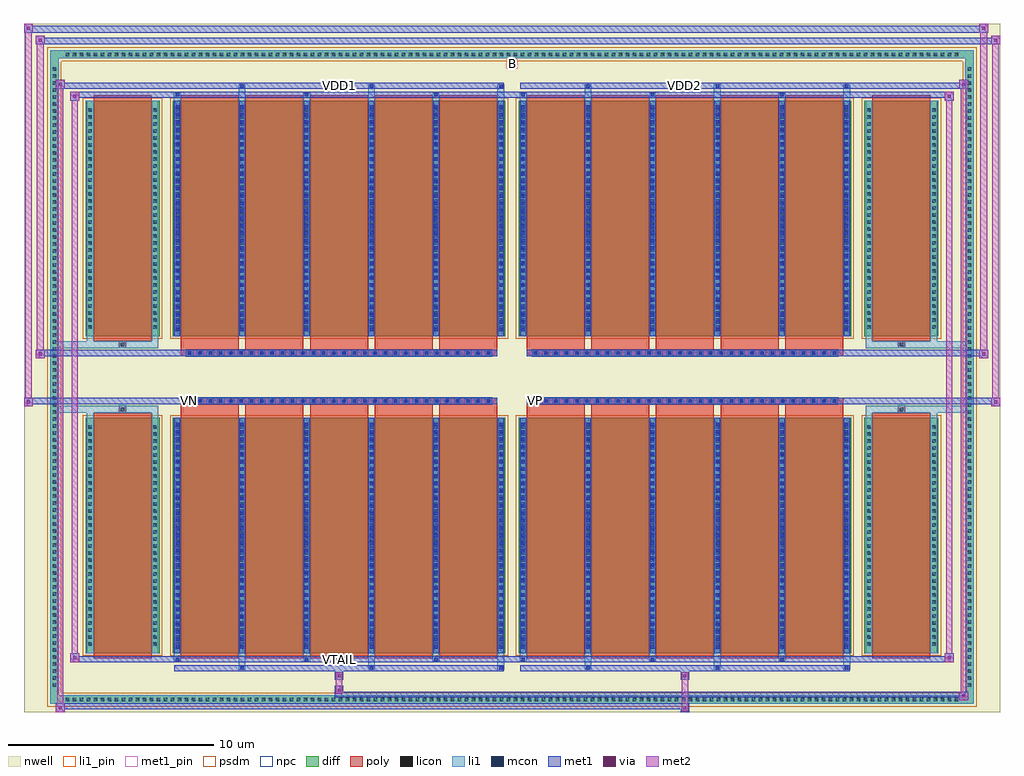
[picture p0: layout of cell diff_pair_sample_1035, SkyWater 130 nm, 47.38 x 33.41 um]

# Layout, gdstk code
import gdstk
lib = gdstk.Library(unit=1e-6, precision=5e-09)
def R(c, l, rs):  # rectangles x0, y0, x1, y1
    for r in rs: c.add(gdstk.rectangle(r[:2], r[2:], *l))
def A(c, l, x, y, w, h, nx, ny, dx, dy):  # array of equal rectangles
    R(c, l, [(x+i*dx, y+j*dy, x+i*dx+w, y+j*dy+h) for i in range(nx) for j in range(ny)])
def P(c, l, *ps):  # polygons
    for p in ps: c.add(gdstk.Polygon(p, *l))
nwell = (64, 20)
diff = (65, 20)
poly = (66, 20)
licon = (66, 44)
li1_pin = (67, 16)
li1 = (67, 20)
mcon = (67, 44)
met1_pin = (68, 16)
met1 = (68, 20)
via = (68, 44)
met2 = (69, 20)
psdm = (94, 20)
npc = (95, 20)

diff_pair_sample_1035 = lib.new_cell('diff_pair_sample_1035')
R(diff_pair_sample_1035, nwell, [(-23.69,-16.27,23.69,17.14), (-21.01,-14.46,-0.01,-0.8), (0.01,-14.46,21.01,-0.8), (-21.01,0.8,-0.01,14.46), (0.01,0.8,21.01,14.46)])
A(diff_pair_sample_1035, diff, -21.795, -15.87, 0.41, 0.41, 128, 2, 0.34, 31.33)
A(diff_pair_sample_1035, diff, -22.42, -15.165, 0.41, 0.41, 1, 89, 0, 0.34)
A(diff_pair_sample_1035, diff, 22.01, -15.165, 0.41, 0.41, 1, 89, 0, 0.34)
R(diff_pair_sample_1035, diff, [(-21.795,-15.87,21.795,-15.46), (-22.42,-15.165,-22.01,15.165), (22.01,-15.165,22.42,15.165), (-20.7,-13.415,-17.11,-1.985), (-16.47,-13.415,-0.32,-1.985), (0.32,-13.415,16.47,-1.985), (17.11,-13.415,20.7,-1.985), (-20.7,1.985,-17.11,13.415), (-16.47,1.985,-0.32,13.415), (0.32,1.985,16.47,13.415), (17.11,1.985,20.7,13.415), (-21.795,15.46,21.795,15.87)])
P(diff_pair_sample_1035, diff, [(22.42,15.87),(-22.42,15.87),(-22.42,-15.46),(-22.01,-15.46),(-22.01,15.46),(22.01,15.46),(22.01,-15.46),(-22.01,-15.46),(-22.42,-15.46),(-22.42,-15.87),(22.42,-15.87)])
A(diff_pair_sample_1035, poly, -16.08, -13.665, 2.81, 11.93, 5, 2, 3.14, 15.4)
A(diff_pair_sample_1035, poly, 0.71, -13.665, 2.81, 11.93, 5, 2, 3.14, 15.4)
A(diff_pair_sample_1035, poly, -16.08, -1.735, 2.81, 0.405, 5, 2, 3.14, 3.065)
A(diff_pair_sample_1035, poly, 0.71, -1.735, 2.81, 0.405, 5, 2, 3.14, 3.065)
A(diff_pair_sample_1035, poly, -15.81, -1.33, 0.33, 0.33, 30, 2, 0.5, 2.33)
A(diff_pair_sample_1035, poly, 0.98, -1.33, 0.33, 0.33, 30, 2, 0.5, 2.33)
R(diff_pair_sample_1035, poly, [(-20.31,-13.665,-17.5,-1.735), (17.5,-13.665,20.31,-1.735), (-19.07,-1.735,-18.74,-1.405), (-19.07,-1.735,-18.74,-1.405), (18.74,-1.735,19.07,-1.405), (18.74,-1.735,19.07,-1.405), (-16.08,-1.33,-0.71,-1), (0.71,-1.33,16.08,-1), (-16.08,1,-0.71,1.33), (0.71,1,16.08,1.33), (-19.07,1.405,-18.74,1.735), (-19.07,1.405,-18.74,1.735), (18.74,1.405,19.07,1.735), (18.74,1.405,19.07,1.735), (-20.31,1.735,-17.5,13.665), (17.5,1.735,20.31,13.665)])
A(diff_pair_sample_1035, licon, -21.675, -15.75, 0.17, 0.17, 128, 2, 0.34, 31.33)
A(diff_pair_sample_1035, licon, -22.3, -15.045, 0.17, 0.17, 1, 89, 0, 0.34)
A(diff_pair_sample_1035, licon, 22.13, -15.045, 0.17, 0.17, 1, 89, 0, 0.34)
A(diff_pair_sample_1035, licon, -20.56, -13.055, 0.17, 0.17, 1, 32, 0, 0.34)
A(diff_pair_sample_1035, licon, -17.42, -13.055, 0.17, 0.17, 1, 32, 0, 0.34)
A(diff_pair_sample_1035, licon, -16.33, -13.055, 0.17, 0.17, 6, 32, 3.14, 0.34)
A(diff_pair_sample_1035, licon, 0.46, -13.055, 0.17, 0.17, 6, 32, 3.14, 0.34)
A(diff_pair_sample_1035, licon, 17.25, -13.055, 0.17, 0.17, 1, 32, 0, 0.34)
A(diff_pair_sample_1035, licon, 20.39, -13.055, 0.17, 0.17, 1, 32, 0, 0.34)
A(diff_pair_sample_1035, licon, -15.73, -1.25, 0.17, 0.17, 30, 2, 0.5, 2.33)
A(diff_pair_sample_1035, licon, 1.06, -1.25, 0.17, 0.17, 30, 2, 0.5, 2.33)
A(diff_pair_sample_1035, licon, -20.56, 2.345, 0.17, 0.17, 1, 32, 0, 0.34)
A(diff_pair_sample_1035, licon, -17.42, 2.345, 0.17, 0.17, 1, 32, 0, 0.34)
A(diff_pair_sample_1035, licon, -16.33, 2.345, 0.17, 0.17, 6, 32, 3.14, 0.34)
A(diff_pair_sample_1035, licon, 0.46, 2.345, 0.17, 0.17, 6, 32, 3.14, 0.34)
A(diff_pair_sample_1035, licon, 17.25, 2.345, 0.17, 0.17, 1, 32, 0, 0.34)
A(diff_pair_sample_1035, licon, 20.39, 2.345, 0.17, 0.17, 1, 32, 0, 0.34)
R(diff_pair_sample_1035, licon, [(-18.99,-1.655,-18.82,-1.485), (18.82,-1.655,18.99,-1.485), (-18.99,1.485,-18.82,1.655), (18.82,1.485,18.99,1.655)])
R(diff_pair_sample_1035, li1_pin, [(-0.25,14.96,0.25,15.46)])
A(diff_pair_sample_1035, li1, -21.755, -15.83, 0.33, 0.33, 128, 2, 0.34, 31.33)
A(diff_pair_sample_1035, li1, -22.38, -15.125, 0.33, 0.33, 1, 89, 0, 0.34)
A(diff_pair_sample_1035, li1, 22.05, -15.125, 0.33, 0.33, 1, 89, 0, 0.34)
A(diff_pair_sample_1035, li1, -13.27, -14.22, 0.33, 0.805, 3, 2, 6.28, 27.635)
A(diff_pair_sample_1035, li1, -13.19, -14.22, 0.17, 0.17, 3, 2, 6.28, 28.27)
A(diff_pair_sample_1035, li1, 3.52, -14.22, 0.33, 0.805, 3, 2, 6.28, 27.635)
A(diff_pair_sample_1035, li1, 3.6, -14.22, 0.17, 0.17, 3, 2, 6.28, 28.27)
A(diff_pair_sample_1035, li1, -16.41, -13.79, 0.33, 0.375, 3, 2, 6.28, 27.205)
A(diff_pair_sample_1035, li1, -16.33, -13.79, 0.17, 0.17, 3, 2, 6.28, 27.41)
A(diff_pair_sample_1035, li1, 0.38, -13.79, 0.33, 0.375, 3, 2, 6.28, 27.205)
A(diff_pair_sample_1035, li1, 0.46, -13.79, 0.17, 0.17, 3, 2, 6.28, 27.41)
A(diff_pair_sample_1035, li1, -16.41, -13.415, 0.33, 11.43, 6, 2, 3.14, 15.4)
A(diff_pair_sample_1035, li1, 0.38, -13.415, 0.33, 11.43, 6, 2, 3.14, 15.4)
A(diff_pair_sample_1035, li1, -16.33, -13.185, 0.17, 0.17, 6, 31, 3.14, 0.36)
A(diff_pair_sample_1035, li1, -16.33, -13.185, 0.17, 10.97, 6, 2, 3.14, 15.4)
A(diff_pair_sample_1035, li1, 0.46, -13.185, 0.17, 0.17, 6, 31, 3.14, 0.36)
A(diff_pair_sample_1035, li1, 0.46, -13.185, 0.17, 10.97, 6, 2, 3.14, 15.4)
A(diff_pair_sample_1035, li1, -20.64, -13.135, 0.33, 0.33, 1, 32, 0, 0.34)
A(diff_pair_sample_1035, li1, -17.5, -13.135, 0.33, 0.33, 1, 32, 0, 0.34)
A(diff_pair_sample_1035, li1, -16.41, -13.135, 0.33, 0.33, 6, 32, 3.14, 0.34)
A(diff_pair_sample_1035, li1, 0.38, -13.135, 0.33, 0.33, 6, 32, 3.14, 0.34)
A(diff_pair_sample_1035, li1, 17.17, -13.135, 0.33, 0.33, 1, 32, 0, 0.34)
A(diff_pair_sample_1035, li1, 20.31, -13.135, 0.33, 0.33, 1, 32, 0, 0.34)
A(diff_pair_sample_1035, li1, -15.81, -1.33, 0.33, 0.33, 30, 2, 0.5, 2.33)
A(diff_pair_sample_1035, li1, 0.98, -1.33, 0.33, 0.33, 30, 2, 0.5, 2.33)
A(diff_pair_sample_1035, li1, -16.33, 2.215, 0.17, 0.17, 6, 31, 3.14, 0.36)
A(diff_pair_sample_1035, li1, 0.46, 2.215, 0.17, 0.17, 6, 31, 3.14, 0.36)
A(diff_pair_sample_1035, li1, -20.64, 2.265, 0.33, 0.33, 1, 32, 0, 0.34)
A(diff_pair_sample_1035, li1, -17.5, 2.265, 0.33, 0.33, 1, 32, 0, 0.34)
A(diff_pair_sample_1035, li1, -16.41, 2.265, 0.33, 0.33, 6, 32, 3.14, 0.34)
A(diff_pair_sample_1035, li1, 0.38, 2.265, 0.33, 0.33, 6, 32, 3.14, 0.34)
A(diff_pair_sample_1035, li1, 17.17, 2.265, 0.33, 0.33, 1, 32, 0, 0.34)
A(diff_pair_sample_1035, li1, 20.31, 2.265, 0.33, 0.33, 1, 32, 0, 0.34)
R(diff_pair_sample_1035, li1, [(-22.42,-15.87,-22.01,-15.46), (-22.42,-15.87,-22.01,-15.46), (-22.01,-15.87,22.01,-15.46), (22.01,-15.87,22.42,-15.46), (22.01,-15.87,22.42,-15.46), (-22.42,-15.46,-22.01,15.46), (22.01,-15.46,22.42,15.46), (-20.64,-13.415,-20.31,-1.985), (-17.5,-13.415,-17.17,-1.985), (17.17,-13.415,17.5,-1.985), (20.31,-13.415,20.64,-1.985), (-20.64,-1.985,-20.31,-1.405), (-17.5,-1.985,-17.17,-1.405), (17.17,-1.985,17.5,-1.405), (20.31,-1.985,20.64,-1.405), (-22.42,-1.735,-19.07,-1.405), (-20.64,-1.735,-19.07,-1.405), (-19.07,-1.735,-18.74,-1.405), (-18.74,-1.735,-17.17,-1.405), (17.17,-1.735,18.74,-1.405), (18.74,-1.735,19.07,-1.405), (18.74,-1.735,22.42,-1.405), (19.07,-1.735,20.64,-1.405), (-22.42,1.405,-19.07,1.735), (-20.64,1.405,-19.07,1.735), (-20.64,1.405,-20.31,1.985), (-19.07,1.405,-18.74,1.735), (-18.74,1.405,-17.17,1.735), (-17.5,1.405,-17.17,1.985), (17.17,1.405,18.74,1.735), (17.17,1.405,17.5,1.985), (18.74,1.405,19.07,1.735), (18.74,1.405,22.42,1.735), (19.07,1.405,20.64,1.735), (20.31,1.405,20.64,1.985), (-20.64,1.985,-20.31,13.415), (-17.5,1.985,-17.17,13.415), (17.17,1.985,17.5,13.415), (20.31,1.985,20.64,13.415), (-22.42,15.46,-22.01,15.87), (-22.42,15.46,-22.01,15.87), (-22.01,15.46,22.01,15.87), (22.01,15.46,22.42,15.87), (22.01,15.46,22.42,15.87)])
A(diff_pair_sample_1035, mcon, -13.19, -14.22, 0.17, 0.17, 3, 2, 6.28, 28.27)
A(diff_pair_sample_1035, mcon, 3.6, -14.22, 0.17, 0.17, 3, 2, 6.28, 28.27)
A(diff_pair_sample_1035, mcon, -16.33, -13.79, 0.17, 0.17, 3, 2, 6.28, 27.41)
A(diff_pair_sample_1035, mcon, 0.46, -13.79, 0.17, 0.17, 3, 2, 6.28, 27.41)
A(diff_pair_sample_1035, mcon, -16.33, -13.185, 0.17, 0.17, 6, 31, 3.14, 0.36)
A(diff_pair_sample_1035, mcon, 0.46, -13.185, 0.17, 0.17, 6, 31, 3.14, 0.36)
A(diff_pair_sample_1035, mcon, -15.73, -1.25, 0.17, 0.17, 30, 2, 0.5, 2.33)
A(diff_pair_sample_1035, mcon, 1.06, -1.25, 0.17, 0.17, 30, 2, 0.5, 2.33)
A(diff_pair_sample_1035, mcon, -16.33, 2.215, 0.17, 0.17, 6, 31, 3.14, 0.36)
A(diff_pair_sample_1035, mcon, 0.46, 2.215, 0.17, 0.17, 6, 31, 3.14, 0.36)
R(diff_pair_sample_1035, met1_pin, [(-8.53,-13.83,-8.26,-13.56), (-15.78,-1.29,-15.51,-1.02), (1.01,-1.29,1.28,-1.02), (-8.53,14.01,-8.26,14.28), (8.26,14.01,8.53,14.28)])
A(diff_pair_sample_1035, met1, -13.25, -14.28, 0.29, 0.29, 3, 2, 6.28, 28.27)
A(diff_pair_sample_1035, met1, 3.54, -14.28, 0.29, 0.29, 3, 2, 6.28, 28.27)
A(diff_pair_sample_1035, met1, -16.39, -13.85, 0.29, 0.29, 3, 2, 6.28, 27.41)
A(diff_pair_sample_1035, met1, 0.4, -13.85, 0.29, 0.29, 3, 2, 6.28, 27.41)
A(diff_pair_sample_1035, met1, -16.39, -13.415, 0.29, 11.43, 6, 2, 3.14, 15.4)
A(diff_pair_sample_1035, met1, 0.4, -13.415, 0.29, 11.43, 6, 2, 3.14, 15.4)
A(diff_pair_sample_1035, met1, -16.39, -13.245, 0.29, 0.29, 6, 31, 3.14, 0.36)
A(diff_pair_sample_1035, met1, 0.4, -13.245, 0.29, 0.29, 6, 31, 3.14, 0.36)
A(diff_pair_sample_1035, met1, -15.79, -1.31, 0.29, 0.29, 30, 2, 0.5, 2.33)
A(diff_pair_sample_1035, met1, 1, -1.31, 0.29, 0.29, 30, 2, 0.5, 2.33)
A(diff_pair_sample_1035, met1, -16.39, 2.155, 0.29, 0.29, 6, 31, 3.14, 0.36)
A(diff_pair_sample_1035, met1, 0.4, 2.155, 0.29, 0.29, 6, 31, 3.14, 0.36)
R(diff_pair_sample_1035, met1, [(-22.15,-16.27,-21.72,-15.84), (8.18,-16.27,8.61,-15.84), (-22.15,-16.13,8.61,-15.84), (21.72,-15.7,22.15,-15.27), (-8.61,-15.56,22.15,-15.27), (-8.61,-15.42,-8.18,-14.99), (-8.61,-14.71,-8.18,-14.28), (8.18,-14.71,8.61,-14.28), (-16.39,-14.28,-0.4,-13.99), (0.4,-14.28,16.39,-13.99), (-21.44,-13.85,-21.01,-13.42), (-21.44,-13.85,-16.39,-13.56), (-16.39,-13.85,-0.4,-13.56), (-0.4,-13.85,0.4,-13.56), (0.4,-13.85,16.39,-13.56), (16.39,-13.85,21.44,-13.56), (21.01,-13.85,21.44,-13.42), (-23.69,-1.43,-23.26,-1), (23.26,-1.43,23.69,-1), (-23.69,-1.33,-0.71,-1), (-16.08,-1.33,-0.71,-1), (0.71,-1.33,16.08,-1), (0.71,-1.33,23.69,-1), (-23.12,0.9,-22.69,1.33), (22.69,0.9,23.12,1.33), (-23.12,1,-16.08,1.33), (-16.08,1,-0.71,1.33), (0.71,1,16.08,1.33), (16.08,1,23.12,1.33), (-21.44,13.42,-21.01,13.85), (21.01,13.42,21.44,13.85), (-21.44,13.56,-16.39,13.85), (-16.39,13.56,-0.4,13.85), (-0.4,13.56,0.4,13.85), (0.4,13.56,16.39,13.85), (16.39,13.56,21.44,13.85), (-22.15,13.99,-21.72,14.42), (-22.15,13.99,-16.39,14.28), (-16.39,13.99,-0.4,14.28), (0.4,13.99,16.39,14.28), (16.39,13.99,22.15,14.28), (21.72,13.99,22.15,14.42), (-23.12,16.14,-22.69,16.57), (-23.12,16.14,-21.01,16.47), (-21.01,16.14,21.01,16.47), (21.01,16.14,23.69,16.47), (23.26,16.14,23.69,16.57), (-23.69,16.71,-23.26,17.14), (-23.69,16.71,-21.01,17.04), (-21.01,16.71,21.01,17.04), (21.01,16.71,23.12,17.04), (22.69,16.71,23.12,17.14)])
R(diff_pair_sample_1035, via, [(-22.01,-16.13,-21.86,-15.98), (8.32,-16.13,8.47,-15.98), (21.86,-15.56,22.01,-15.41), (-8.47,-15.28,-8.32,-15.13), (-8.47,-14.57,-8.32,-14.42), (8.32,-14.57,8.47,-14.42), (-21.3,-13.71,-21.15,-13.56), (21.15,-13.71,21.3,-13.56), (-23.55,-1.29,-23.4,-1.14), (23.4,-1.29,23.55,-1.14), (-22.98,1.04,-22.83,1.19), (22.83,1.04,22.98,1.19), (-21.3,13.56,-21.15,13.71), (21.15,13.56,21.3,13.71), (-22.01,14.13,-21.86,14.28), (21.86,14.13,22.01,14.28), (-22.98,16.28,-22.83,16.43), (23.4,16.28,23.55,16.43), (-23.55,16.85,-23.4,17), (22.83,16.85,22.98,17)])
R(diff_pair_sample_1035, met2, [(-22.15,-16.27,-21.72,-15.84), (-22.08,-16.27,-21.79,14.42), (-21.79,-16.27,-21.72,-15.84), (-22.1,-16.22,-21.77,-15.89), (8.23,-16.22,8.56,-15.89), (8.23,-15.89,8.56,-14.66), (21.72,-15.7,22.15,-15.27), (21.79,-15.7,22.08,14.42), (22.08,-15.7,22.15,-15.27), (21.77,-15.65,22.1,-15.32), (-8.56,-15.37,-8.23,-15.04), (-8.56,-15.04,-8.23,-14.66), (-8.56,-14.66,-8.23,-14.33), (8.23,-14.66,8.56,-14.33), (-21.44,-13.85,-21.01,-13.42), (-21.37,-13.85,-21.08,13.85), (-21.08,-13.85,-21.01,-13.42), (21.01,-13.85,21.44,-13.42), (21.08,-13.85,21.37,13.85), (21.37,-13.85,21.44,-13.42), (-21.39,-13.8,-21.06,-13.47), (21.06,-13.8,21.39,-13.47), (-23.69,-1.43,-23.26,-1), (-23.64,-1.43,-23.31,17.14), (-23.31,-1.43,-23.26,-1), (23.26,-1.43,23.69,-1), (23.31,-1.43,23.64,16.57), (23.64,-1.43,23.69,-1), (-23.64,-1.38,-23.31,-1.05), (23.31,-1.38,23.64,-1.05), (-23.12,0.9,-22.69,1.33), (-23.07,0.9,-22.74,16.57), (-22.74,0.9,-22.69,1.33), (22.69,0.9,23.12,1.33), (22.74,0.9,23.07,17.14), (23.07,0.9,23.12,1.33), (-23.07,0.95,-22.74,1.28), (22.74,0.95,23.07,1.28), (-21.44,13.42,-21.01,13.85), (-21.08,13.42,-21.01,13.85), (21.01,13.42,21.44,13.85), (21.37,13.42,21.44,13.85), (-21.39,13.47,-21.06,13.8), (21.06,13.47,21.39,13.8), (-22.15,13.99,-21.72,14.42), (-21.79,13.99,-21.72,14.42), (21.72,13.99,22.15,14.42), (22.08,13.99,22.15,14.42), (-22.1,14.04,-21.77,14.37), (21.77,14.04,22.1,14.37), (-23.12,16.14,-22.69,16.57), (-22.74,16.14,-22.69,16.57), (23.26,16.14,23.69,16.57), (23.64,16.14,23.69,16.57), (-23.07,16.19,-22.74,16.52), (23.31,16.19,23.64,16.52), (-23.69,16.71,-23.26,17.14), (-23.31,16.71,-23.26,17.14), (22.69,16.71,23.12,17.14), (23.07,16.71,23.12,17.14), (-23.64,16.76,-23.31,17.09), (22.74,16.76,23.07,17.09)])
R(diff_pair_sample_1035, psdm, [(-20.83,-13.545,-16.98,-1.855), (-16.6,-13.545,-0.19,-1.855), (0.19,-13.545,16.6,-1.855), (16.98,-13.545,20.83,-1.855), (-20.83,1.855,-16.98,13.545), (-16.6,1.855,-0.19,13.545), (0.19,1.855,16.6,13.545), (16.98,1.855,20.83,13.545)])
P(diff_pair_sample_1035, psdm, [(22.55,16),(-22.55,16),(-22.55,-15.33),(-21.88,-15.33),(-21.88,15.33),(21.88,15.33),(21.88,-15.33),(-21.88,-15.33),(-22.55,-15.33),(-22.55,-16),(22.55,-16)])
A(diff_pair_sample_1035, npc, -15.83, -1.35, 0.37, 0.37, 30, 2, 0.5, 2.33)
A(diff_pair_sample_1035, npc, 0.96, -1.35, 0.37, 0.37, 30, 2, 0.5, 2.33)
R(diff_pair_sample_1035, npc, [(-19.09,-1.755,-18.72,-1.385), (18.72,-1.755,19.09,-1.385), (-15.83,-1.35,-14.96,-0.98), (-15.83,-1.35,-14.96,-0.98), (-15.33,-1.35,-14.46,-0.98), (-15.33,-1.35,-14.46,-0.98), (-14.83,-1.35,-13.96,-0.98), (-14.83,-1.35,-13.96,-0.98), (-14.33,-1.35,-13.46,-0.98), (-14.33,-1.35,-13.46,-0.98), (-13.83,-1.35,-12.96,-0.98), (-13.83,-1.35,-12.96,-0.98), (-13.33,-1.35,-12.46,-0.98), (-13.33,-1.35,-12.46,-0.98), (-12.83,-1.35,-11.96,-0.98), (-12.83,-1.35,-11.96,-0.98), (-12.33,-1.35,-11.46,-0.98), (-12.33,-1.35,-11.46,-0.98), (-11.83,-1.35,-10.96,-0.98), (-11.83,-1.35,-10.96,-0.98), (-11.33,-1.35,-10.46,-0.98), (-11.33,-1.35,-10.46,-0.98), (-10.83,-1.35,-9.96,-0.98), (-10.83,-1.35,-9.96,-0.98), (-10.33,-1.35,-9.46,-0.98), (-10.33,-1.35,-9.46,-0.98), (-9.83,-1.35,-8.96,-0.98), (-9.83,-1.35,-8.96,-0.98), (-9.33,-1.35,-8.46,-0.98), (-9.33,-1.35,-8.46,-0.98), (-8.83,-1.35,-7.96,-0.98), (-8.83,-1.35,-7.96,-0.98), (-8.33,-1.35,-7.46,-0.98), (-8.33,-1.35,-7.46,-0.98), (-7.83,-1.35,-6.96,-0.98), (-7.83,-1.35,-6.96,-0.98), (-7.33,-1.35,-6.46,-0.98), (-7.33,-1.35,-6.46,-0.98), (-6.83,-1.35,-5.96,-0.98), (-6.83,-1.35,-5.96,-0.98), (-6.33,-1.35,-5.46,-0.98), (-6.33,-1.35,-5.46,-0.98), (-5.83,-1.35,-4.96,-0.98), (-5.83,-1.35,-4.96,-0.98), (-5.33,-1.35,-4.46,-0.98), (-5.33,-1.35,-4.46,-0.98), (-4.83,-1.35,-3.96,-0.98), (-4.83,-1.35,-3.96,-0.98), (-4.33,-1.35,-3.46,-0.98), (-4.33,-1.35,-3.46,-0.98), (-3.83,-1.35,-2.96,-0.98), (-3.83,-1.35,-2.96,-0.98), (-3.33,-1.35,-2.46,-0.98), (-3.33,-1.35,-2.46,-0.98), (-2.83,-1.35,-1.96,-0.98), (-2.83,-1.35,-1.96,-0.98), (-2.33,-1.35,-1.46,-0.98), (-2.33,-1.35,-1.46,-0.98), (-1.83,-1.35,-0.96,-0.98), (-1.83,-1.35,-0.96,-0.98), (0.96,-1.35,1.83,-0.98), (0.96,-1.35,1.83,-0.98), (1.46,-1.35,2.33,-0.98), (1.46,-1.35,2.33,-0.98), (1.96,-1.35,2.83,-0.98), (1.96,-1.35,2.83,-0.98), (2.46,-1.35,3.33,-0.98), (2.46,-1.35,3.33,-0.98), (2.96,-1.35,3.83,-0.98), (2.96,-1.35,3.83,-0.98), (3.46,-1.35,4.33,-0.98), (3.46,-1.35,4.33,-0.98), (3.96,-1.35,4.83,-0.98), (3.96,-1.35,4.83,-0.98), (4.46,-1.35,5.33,-0.98), (4.46,-1.35,5.33,-0.98), (4.96,-1.35,5.83,-0.98), (4.96,-1.35,5.83,-0.98), (5.46,-1.35,6.33,-0.98), (5.46,-1.35,6.33,-0.98), (5.96,-1.35,6.83,-0.98), (5.96,-1.35,6.83,-0.98), (6.46,-1.35,7.33,-0.98), (6.46,-1.35,7.33,-0.98), (6.96,-1.35,7.83,-0.98), (6.96,-1.35,7.83,-0.98), (7.46,-1.35,8.33,-0.98), (7.46,-1.35,8.33,-0.98), (7.96,-1.35,8.83,-0.98), (7.96,-1.35,8.83,-0.98), (8.46,-1.35,9.33,-0.98), (8.46,-1.35,9.33,-0.98), (8.96,-1.35,9.83,-0.98), (8.96,-1.35,9.83,-0.98), (9.46,-1.35,10.33,-0.98), (9.46,-1.35,10.33,-0.98), (9.96,-1.35,10.83,-0.98), (9.96,-1.35,10.83,-0.98), (10.46,-1.35,11.33,-0.98), (10.46,-1.35,11.33,-0.98), (10.96,-1.35,11.83,-0.98), (10.96,-1.35,11.83,-0.98), (11.46,-1.35,12.33,-0.98), (11.46,-1.35,12.33,-0.98), (11.96,-1.35,12.83,-0.98), (11.96,-1.35,12.83,-0.98), (12.46,-1.35,13.33,-0.98), (12.46,-1.35,13.33,-0.98), (12.96,-1.35,13.83,-0.98), (12.96,-1.35,13.83,-0.98), (13.46,-1.35,14.33,-0.98), (13.46,-1.35,14.33,-0.98), (13.96,-1.35,14.83,-0.98), (13.96,-1.35,14.83,-0.98), (14.46,-1.35,15.33,-0.98), (14.46,-1.35,15.33,-0.98), (14.96,-1.35,15.83,-0.98), (14.96,-1.35,15.83,-0.98), (-15.83,0.98,-14.96,1.35), (-15.83,0.98,-14.96,1.35), (-15.33,0.98,-14.46,1.35), (-15.33,0.98,-14.46,1.35), (-14.83,0.98,-13.96,1.35), (-14.83,0.98,-13.96,1.35), (-14.33,0.98,-13.46,1.35), (-14.33,0.98,-13.46,1.35), (-13.83,0.98,-12.96,1.35), (-13.83,0.98,-12.96,1.35), (-13.33,0.98,-12.46,1.35), (-13.33,0.98,-12.46,1.35), (-12.83,0.98,-11.96,1.35), (-12.83,0.98,-11.96,1.35), (-12.33,0.98,-11.46,1.35), (-12.33,0.98,-11.46,1.35), (-11.83,0.98,-10.96,1.35), (-11.83,0.98,-10.96,1.35), (-11.33,0.98,-10.46,1.35), (-11.33,0.98,-10.46,1.35), (-10.83,0.98,-9.96,1.35), (-10.83,0.98,-9.96,1.35), (-10.33,0.98,-9.46,1.35), (-10.33,0.98,-9.46,1.35), (-9.83,0.98,-8.96,1.35), (-9.83,0.98,-8.96,1.35), (-9.33,0.98,-8.46,1.35), (-9.33,0.98,-8.46,1.35), (-8.83,0.98,-7.96,1.35), (-8.83,0.98,-7.96,1.35), (-8.33,0.98,-7.46,1.35), (-8.33,0.98,-7.46,1.35), (-7.83,0.98,-6.96,1.35), (-7.83,0.98,-6.96,1.35), (-7.33,0.98,-6.46,1.35), (-7.33,0.98,-6.46,1.35), (-6.83,0.98,-5.96,1.35), (-6.83,0.98,-5.96,1.35), (-6.33,0.98,-5.46,1.35), (-6.33,0.98,-5.46,1.35), (-5.83,0.98,-4.96,1.35), (-5.83,0.98,-4.96,1.35), (-5.33,0.98,-4.46,1.35), (-5.33,0.98,-4.46,1.35), (-4.83,0.98,-3.96,1.35), (-4.83,0.98,-3.96,1.35), (-4.33,0.98,-3.46,1.35), (-4.33,0.98,-3.46,1.35), (-3.83,0.98,-2.96,1.35), (-3.83,0.98,-2.96,1.35), (-3.33,0.98,-2.46,1.35), (-3.33,0.98,-2.46,1.35), (-2.83,0.98,-1.96,1.35), (-2.83,0.98,-1.96,1.35), (-2.33,0.98,-1.46,1.35), (-2.33,0.98,-1.46,1.35), (-1.83,0.98,-0.96,1.35), (-1.83,0.98,-0.96,1.35), (0.96,0.98,1.83,1.35), (0.96,0.98,1.83,1.35), (1.46,0.98,2.33,1.35), (1.46,0.98,2.33,1.35), (1.96,0.98,2.83,1.35), (1.96,0.98,2.83,1.35), (2.46,0.98,3.33,1.35), (2.46,0.98,3.33,1.35), (2.96,0.98,3.83,1.35), (2.96,0.98,3.83,1.35), (3.46,0.98,4.33,1.35), (3.46,0.98,4.33,1.35), (3.96,0.98,4.83,1.35), (3.96,0.98,4.83,1.35), (4.46,0.98,5.33,1.35), (4.46,0.98,5.33,1.35), (4.96,0.98,5.83,1.35), (4.96,0.98,5.83,1.35), (5.46,0.98,6.33,1.35), (5.46,0.98,6.33,1.35), (5.96,0.98,6.83,1.35), (5.96,0.98,6.83,1.35), (6.46,0.98,7.33,1.35), (6.46,0.98,7.33,1.35), (6.96,0.98,7.83,1.35), (6.96,0.98,7.83,1.35), (7.46,0.98,8.33,1.35), (7.46,0.98,8.33,1.35), (7.96,0.98,8.83,1.35), (7.96,0.98,8.83,1.35), (8.46,0.98,9.33,1.35), (8.46,0.98,9.33,1.35), (8.96,0.98,9.83,1.35), (8.96,0.98,9.83,1.35), (9.46,0.98,10.33,1.35), (9.46,0.98,10.33,1.35), (9.96,0.98,10.83,1.35), (9.96,0.98,10.83,1.35), (10.46,0.98,11.33,1.35), (10.46,0.98,11.33,1.35), (10.96,0.98,11.83,1.35), (10.96,0.98,11.83,1.35), (11.46,0.98,12.33,1.35), (11.46,0.98,12.33,1.35), (11.96,0.98,12.83,1.35), (11.96,0.98,12.83,1.35), (12.46,0.98,13.33,1.35), (12.46,0.98,13.33,1.35), (12.96,0.98,13.83,1.35), (12.96,0.98,13.83,1.35), (13.46,0.98,14.33,1.35), (13.46,0.98,14.33,1.35), (13.96,0.98,14.83,1.35), (13.96,0.98,14.83,1.35), (14.46,0.98,15.33,1.35), (14.46,0.98,15.33,1.35), (14.96,0.98,15.83,1.35), (14.96,0.98,15.83,1.35), (-19.09,1.385,-18.72,1.755), (18.72,1.385,19.09,1.755)])
diff_pair_sample_1035.add(gdstk.Label('VTAIL', (-8.395,-13.695), layer=68, texttype=5))
diff_pair_sample_1035.add(gdstk.Label('VN', (-15.645,-1.155), layer=68, texttype=5))
diff_pair_sample_1035.add(gdstk.Label('VP', (1.145,-1.155), layer=68, texttype=5))
diff_pair_sample_1035.add(gdstk.Label('B', (0,15.21), layer=67, texttype=5))
diff_pair_sample_1035.add(gdstk.Label('VDD2', (8.395,14.145), layer=68, texttype=5))
diff_pair_sample_1035.add(gdstk.Label('VDD1', (-8.395,14.145), layer=68, texttype=5))

lib.write_gds('diff_pair_sample_1035.gds')
